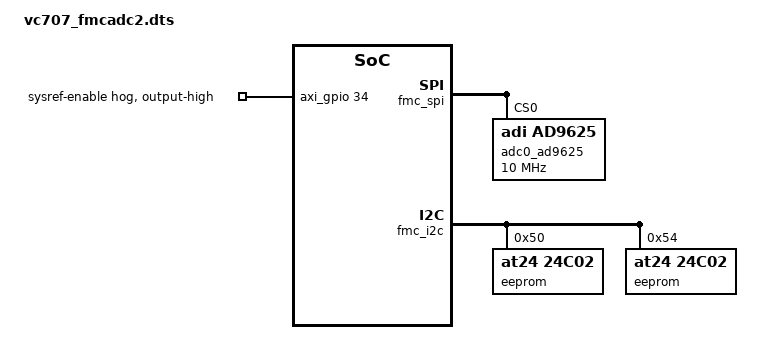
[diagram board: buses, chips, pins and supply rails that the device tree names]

/dts-v1/;
/include/ "vc707.dtsi"

#define fmc_i2c fmc1_hpc_iic
#define fmc_spi axi_spi

/ {
	clocks {
		ad9625_clkin: clock@0 {
			compatible = "fixed-clock";
			clock-frequency = <2500000000>;
			#clock-cells = <0>;
			clock-output-names = "clkin";
		};

		ad9625_divclk: clock@1 {
			compatible = "fixed-factor-clock";

			clocks = <&ad9625_clkin>;
			clock-div = <4>;
			clock-mult = <1>;

			#clock-cells = <0>;
			clock-output-names = "divclk";
		};
	};
};

&amba_pl {
	axi_ad9625_core: axi-ad9625@44a10000 {
		compatible = "adi,axi-ad9625-1.0";
		reg = <0x44a10000 0x10000>;
		dmas = <&axi_ad9625_dma 0>;
		dma-names = "rx";
		spibus-connected = <&adc0_ad9625>;
	};
	axi_ad9625_dma: axi_dmac@7c420000 {
		compatible = "adi,axi-dmac-1.00.a";
		interrupt-parent = <&axi_intc>;
		interrupts = <12 2>;
		reg = <0x7c420000 0x10000>;
		#dma-cells = <1>;
		clocks = <&clk_bus_0>;

		adi,channels {
			#address-cells = <1>;
			#size-cells = <0>;

			dma-channel@0 {
				reg = <0>;
				adi,source-bus-width = <64>;
				adi,source-bus-type = <1>;
				adi,destination-bus-width = <64>;
				adi,destination-bus-type = <0>;
			};
		};
	};
	axi_adxcvr: axi-adxcvr@44a60000 {
		compatible = "adi,axi-adxcvr-1.0";
		reg = <0x44a60000 0x1000>;

		clocks = <&ad9625_divclk>;
		clock-names = "conv";

		#clock-cells = <1>;
		clock-output-names = "adc_gt_clk", "rx_out_clk";

		adi,sys-clk-select = <0>;
		adi,out-clk-select = <2>;
		adi,use-cpll-enable;
	};
	axi_ad9625_jesd: axi-jesd204-rx@44aa0000 {
		compatible = "adi,axi-jesd204-rx-1.0";
		reg = <0x44aa0000 0x1000>;

		interrupt-parent = <&axi_intc>;
		interrupts = <13 2>;

		clocks = <&clk_bus_0>, <&axi_adxcvr 1>, <&axi_adxcvr 0>;
		clock-names = "s_axi_aclk", "device_clk", "lane_clk";

		#clock-cells = <0>;
		clock-output-names = "jesd_adc_lane_clk";

		adi,octets-per-frame = <1>;
		adi,frames-per-multiframe = <32>;
	};
};

&fmc_spi {
	adc0_ad9625: ad9625@0 {
		#address-cells = <1>;
		#size-cells = <0>;
		compatible = "adi,ad9625";
		reg = <0>;
		spi-max-frequency = <10000000>;
		clocks = <&axi_ad9625_jesd>, <&ad9625_clkin>;
		clock-names = "jesd_adc_clk", "adc_clk";

	};
};

&axi_gpio {
	sysref_enable {
		gpio-hog;
		gpios = <34 0>;
		output-high;
		line-name = "sysref-enable";
	};
};

&fmc_i2c {
	eeprom@50 {
		compatible = "at24,24c02";
		reg = <0x50>;
	};

	eeprom@54 {
		compatible = "at24,24c02";
		reg = <0x54>;
	};
};
